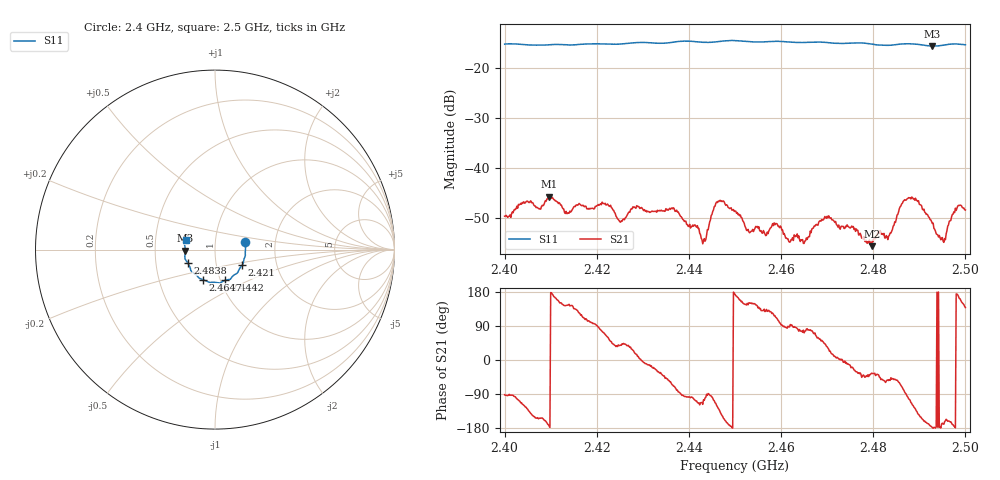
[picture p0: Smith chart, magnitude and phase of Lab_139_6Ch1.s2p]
# Hz S RI R
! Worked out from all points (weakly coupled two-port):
!   601 points, 2.4 GHz to 2.5 GHz, reference 50 ohm
!   highest |S21| = -45.71 dB at 2.4097 GHz (marker M1); lowest = -55.6 dB at 2.4797 GHz (marker M2)
!   lowest |S11| = -15.6 dB at 2.4928 GHz (marker M3), VSWR 1.40, Z = 35.8 - j0.37 ohm
!   |S11| at or under -10 dB: start of sweep to end of sweep
!   S12 and S22 are empty: the file has one direction only
!   S11 on the Smith chart (normalised r, x): 2.4 GHz: 1.40, +0.12; 2.421 GHz: 1.33, -0.24; 2.4442 GHz: 1.05, -0.37; 2.4647 GHz: 0.83, -0.29; 2.4838 GHz: 0.73, -0.11; 2.5 GHz: 0.72, +0.08
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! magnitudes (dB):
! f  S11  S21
! 2.4 GHz  -15.2  -49.6
! 2.4097 GHz  -15.3  -45.7
! 2.4167 GHz  -15.3  -47.5
! 2.421 GHz  -15.2  -47.3
! 2.4252 GHz  -15.2  -50.8
! 2.4333 GHz  -15.1  -48.5
! 2.4432 GHz  -14.9  -54.6
! 2.4442 GHz  -14.9  -52.3
! 2.4463 GHz  -14.7  -46.6
! 2.45 GHz  -14.5  -48.6
! 2.453 GHz  -14.7  -52.7
! 2.4647 GHz  -14.9  -54.3
! 2.4667 GHz  -14.8  -52.2
! 2.4703 GHz  -14.9  -49.5
! 2.4797 GHz  -15.2  -55.6
! 2.4833 GHz  -15.5  -53.6
! 2.4838 GHz  -15.4  -53.0
! 2.488 GHz  -15.2  -45.9
! 2.4928 GHz  -15.6  -51.1
! 2.4952 GHz  -15.4  -54.6
! 2.498 GHz  -15.2  -48.5
! 2.5 GHz  -15.3  -48.4
